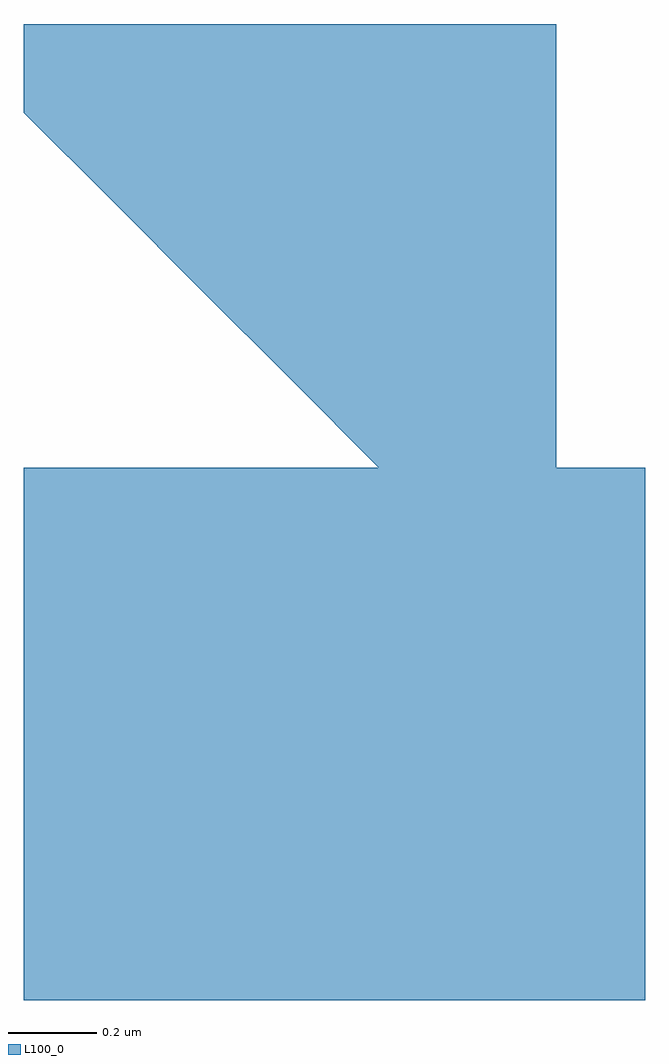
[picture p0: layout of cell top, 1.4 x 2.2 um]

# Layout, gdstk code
import gdstk
lib = gdstk.Library(unit=1e-6, precision=1e-09)
def R(c, l, rs):  # rectangles x0, y0, x1, y1
    for r in rs: c.add(gdstk.rectangle(r[:2], r[2:], *l))
def P(c, l, *ps):  # polygons
    for p in ps: c.add(gdstk.Polygon(p, *l))
L100_0 = (100, 0)

top = lib.new_cell('top')
R(top, L100_0, [(-0.1,-0.1,1.3,1.1), (0.7,1.1,1.1,1.3), (0.5,1.3,1.1,1.5), (0.3,1.5,1.1,1.7), (0.1,1.7,1.1,1.9), (-0.1,1.9,1.1,2.1)])
P(top, L100_0, [(-0.1,1.9),(0.1,1.9),(0.1,1.7)],
  [(0.1,1.7),(0.3,1.7),(0.3,1.5)],
  [(0.3,1.5),(0.5,1.5),(0.5,1.3)],
  [(0.5,1.3),(0.7,1.3),(0.7,1.1)])

lib.write_gds('top.gds')
